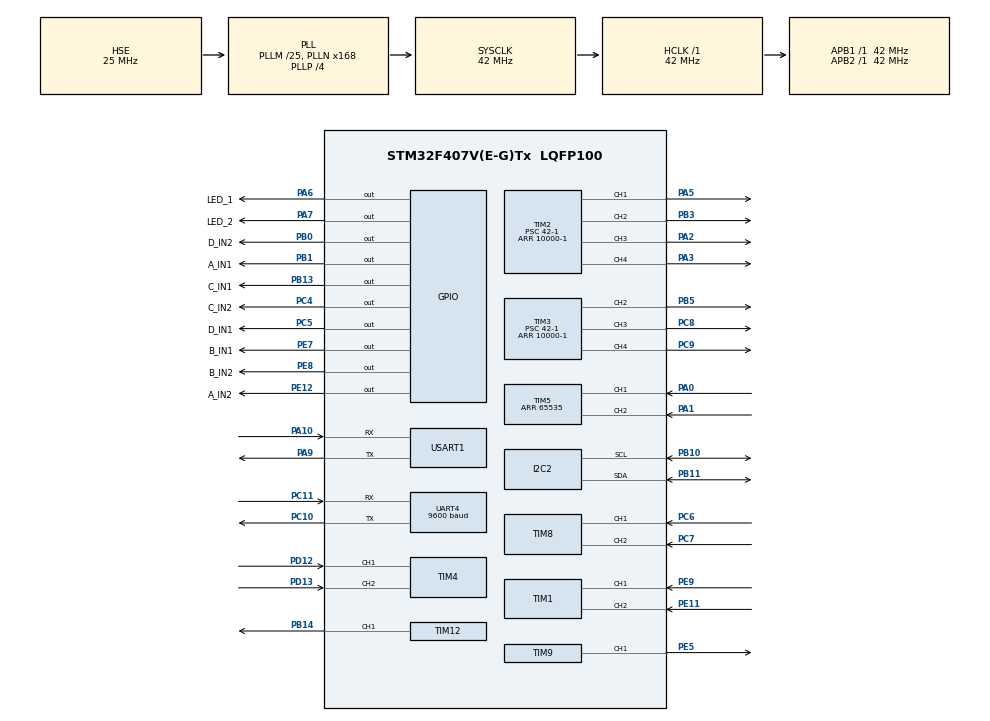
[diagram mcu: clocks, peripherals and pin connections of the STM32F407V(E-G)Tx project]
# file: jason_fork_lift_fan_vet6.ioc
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Mcu.Family=STM32F4
Mcu.Name=STM32F407V(E-G)Tx
Mcu.Package=LQFP100
NVIC.PriorityGroup=NVIC_PRIORITYGROUP_4
PA0-WKUP.Signal=S_TIM5_CH1
PA1.Signal=S_TIM5_CH2
PA10.Mode=Asynchronous
PA10.Signal=USART1_RX
PA13.Mode=Serial_Wire
PA13.Signal=SYS_JTMS-SWDIO
PA14.Mode=Serial_Wire
PA14.Signal=SYS_JTCK-SWCLK
PA2.Signal=S_TIM2_CH3
PA3.Signal=S_TIM2_CH4
PA5.Signal=S_TIM2_CH1_ETR
PA6.GPIO_Label=LED_1
PA6.Signal=GPIO_Output
PA7.GPIO_Label=LED_2
PA7.Signal=GPIO_Output
PA9.Mode=Asynchronous
PA9.Signal=USART1_TX
PB0.GPIO_Label=D_IN2
PB0.Signal=GPIO_Output
PB1.GPIO_Label=A_IN1
PB1.Signal=GPIO_Output
PB10.Mode=I2C
PB10.Signal=I2C2_SCL
PB11.Mode=I2C
PB11.Signal=I2C2_SDA
PB13.GPIO_Label=C_IN1
PB13.Signal=GPIO_Output
PB14.Signal=S_TIM12_CH1
PB3.Signal=S_TIM2_CH2
PB5.Signal=S_TIM3_CH2
PC10.Mode=Asynchronous
PC10.Signal=UART4_TX
PC11.Mode=Asynchronous
PC11.Signal=UART4_RX
PC14-OSC32_IN.Mode=LSE-External-Oscillator
PC14-OSC32_IN.Signal=RCC_OSC32_IN
PC15-OSC32_OUT.Mode=LSE-External-Oscillator
PC15-OSC32_OUT.Signal=RCC_OSC32_OUT
PC4.GPIO_Label=C_IN2
PC4.Signal=GPIO_Output
PC5.GPIO_Label=D_IN1
PC5.Signal=GPIO_Output
PC6.Signal=S_TIM8_CH1
PC7.Signal=S_TIM8_CH2
PC8.Signal=S_TIM3_CH3
PC9.Signal=S_TIM3_CH4
PD12.Signal=S_TIM4_CH1
PD13.Signal=S_TIM4_CH2
PE11.Signal=S_TIM1_CH2
PE12.GPIO_Label=A_IN2
PE12.Signal=GPIO_Output
PE5.Signal=S_TIM9_CH1
PE7.GPIO_Label=B_IN1
PE7.Signal=GPIO_Output
PE8.GPIO_Label=B_IN2
PE8.Signal=GPIO_Output
PE9.Signal=S_TIM1_CH1
PH0-OSC_IN.Mode=HSE-External-Oscillator
PH0-OSC_IN.Signal=RCC_OSC_IN
PH1-OSC_OUT.Mode=HSE-External-Oscillator
PH1-OSC_OUT.Signal=RCC_OSC_OUT
ProjectManager.HeapSize=0x200
ProjectManager.StackSize=0x400
ProjectManager.TargetToolchain=STM32CubeIDE
RCC.48MHZClocksFreq_Value=42000000
RCC.AHBFreq_Value=42000000
RCC.APB1Freq_Value=42000000
RCC.APB1TimFreq_Value=42000000
RCC.APB2Freq_Value=42000000
RCC.APB2TimFreq_Value=42000000
RCC.CortexFreq_Value=42000000
RCC.HCLKFreq_Value=42000000
RCC.HSE_VALUE=25000000
RCC.HSI_VALUE=16000000
RCC.PLLM=25
RCC.PLLN=168
RCC.PLLP=RCC_PLLP_DIV4
RCC.PLLSourceVirtual=RCC_PLLSOURCE_HSE
RCC.SYSCLKFreq_VALUE=42000000
RCC.SYSCLKSource=RCC_SYSCLKSOURCE_PLLCLK
RCC.VCOOutputFreq_Value=168000000
SH.S_TIM12_CH1.0=TIM12_CH1,PWM Generation1 CH1
SH.S_TIM1_CH1.0=TIM1_CH1,Encoder_Interface
SH.S_TIM1_CH2.0=TIM1_CH2,Encoder_Interface
SH.S_TIM2_CH1_ETR.0=TIM2_CH1,PWM Generation1 CH1
SH.S_TIM2_CH2.0=TIM2_CH2,PWM Generation2 CH2
SH.S_TIM2_CH3.0=TIM2_CH3,PWM Generation3 CH3
SH.S_TIM2_CH4.0=TIM2_CH4,PWM Generation4 CH4
SH.S_TIM3_CH2.0=TIM3_CH2,PWM Generation2 CH2
SH.S_TIM3_CH3.0=TIM3_CH3,PWM Generation3 CH3
SH.S_TIM3_CH4.0=TIM3_CH4,PWM Generation4 CH4
SH.S_TIM4_CH1.0=TIM4_CH1,Encoder_Interface
SH.S_TIM4_CH2.0=TIM4_CH2,Encoder_Interface
SH.S_TIM5_CH1.0=TIM5_CH1,Encoder_Interface
SH.S_TIM5_CH2.0=TIM5_CH2,Encoder_Interface
SH.S_TIM8_CH1.0=TIM8_CH1,Encoder_Interface
SH.S_TIM8_CH2.0=TIM8_CH2,Encoder_Interface
SH.S_TIM9_CH1.0=TIM9_CH1,PWM Generation1 CH1
TIM1.EncoderMode=TIM_ENCODERMODE_TI12
TIM1.IC1Filter=5
TIM1.IC2Filter=5
TIM12.AutoReloadPreload=TIM_AUTORELOAD_PRELOAD_ENABLE
TIM12.Channel-PWM\ Generation1\ CH1=TIM_CHANNEL_1
TIM12.Period=10000-1
TIM12.Prescaler=42-1
TIM2.AutoReloadPreload=TIM_AUTORELOAD_PRELOAD_ENABLE
TIM2.Channel-PWM\ Generation1\ CH1=TIM_CHANNEL_1
TIM2.Channel-PWM\ Generation2\ CH2=TIM_CHANNEL_2
TIM2.Channel-PWM\ Generation3\ CH3=TIM_CHANNEL_3
TIM2.Channel-PWM\ Generation4\ CH4=TIM_CHANNEL_4
TIM2.Period=10000-1
TIM2.Prescaler=42-1
TIM3.AutoReloadPreload=TIM_AUTORELOAD_PRELOAD_ENABLE
TIM3.Channel-PWM\ Generation2\ CH2=TIM_CHANNEL_2
TIM3.Channel-PWM\ Generation3\ CH3=TIM_CHANNEL_3
TIM3.Channel-PWM\ Generation4\ CH4=TIM_CHANNEL_4
TIM3.Period=10000-1
TIM3.Prescaler=42-1
TIM4.EncoderMode=TIM_ENCODERMODE_TI12
TIM4.IC1Filter=5
TIM4.IC2Filter=5
TIM5.AutoReloadPreload=TIM_AUTORELOAD_PRELOAD_DISABLE
TIM5.EncoderMode=TIM_ENCODERMODE_TI12
TIM5.IC1Filter=5
TIM5.IC2Filter=5
TIM5.Period=65535
TIM8.EncoderMode=TIM_ENCODERMODE_TI12
TIM9.AutoReloadPreload=TIM_AUTORELOAD_PRELOAD_ENABLE
TIM9.Channel-PWM\ Generation1\ CH1=TIM_CHANNEL_1
TIM9.Period=20000-1
TIM9.Prescaler=42-1
UART4.BaudRate=9600
UART4.VirtualMode=Asynchronous
USART1.VirtualMode=VM_ASYNC
VP_TIM12_VS_ClockSourceINT.Mode=Internal
VP_TIM2_VS_ClockSourceINT.Mode=Internal
VP_TIM3_VS_ClockSourceINT.Mode=Internal
VP_TIM9_VS_ClockSourceINT.Mode=Internal
board=custom

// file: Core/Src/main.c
/* USER CODE BEGIN Header */
/**
 ******************************************************************************
 * @file           : main.c
 * @brief          : Main program body
 ******************************************************************************
 * @attention
 *
 * Copyright (c) 2025 STMicroelectronics.
 * All rights reserved.
 *
 * This software is licensed under terms that can be found in the LICENSE file
 * in the root directory of this software component.
 * If no LICENSE file comes with this software, it is provided AS-IS.
 *
 ******************************************************************************
 */
/* USER CODE END Header */
#include "main.h"
#include "i2c.h"
#include "tim.h"
#include "usart.h"
#include "gpio.h"

/* USER CODE BEGIN Includes */
#include "auto_path.h"
#include "controller.h"
#include "mech.h"
#include "movement.h"
#include "robot.h"
#include "servo.h"
#include "test.h"

/* USER CODE END Includes */

/* USER CODE BEGIN PD */
#define TEST 1

/* USER CODE END PD */

/* USER CODE BEGIN PV */
int time_stamp = 0;
BaseVelocity test_base_vel = {0, 0, 0};
WheelPWM test_pwm = {0, 0, 0, 0};
WheelVelocity test_wheel_vel = {0, 0, 0, 0};
int test_var = 0;
uint8_t test_buffer[3] = {0, 0, 0};

/* USER CODE END PV */

void SystemClock_Config(void);

int main(void)
{

  /* MCU Configuration--------------------------------------------------------*/

  /* Reset of all peripherals, Initializes the Flash interface and the Systick. */
  HAL_Init();

  /* Configure the system clock */
  SystemClock_Config();

  /* Initialize all configured peripherals */
  MX_GPIO_Init();
  MX_TIM1_Init();
  MX_TIM2_Init();
  MX_TIM3_Init();
  MX_TIM4_Init();
  MX_TIM5_Init();
  MX_TIM8_Init();
  MX_UART4_Init();
  MX_USART1_UART_Init();
  MX_TIM9_Init();
  MX_TIM12_Init();
  MX_I2C2_Init();
  /* USER CODE BEGIN 2 */
  HAL_TIM_PWM_Start(&htim3, TIM_CHANNEL_1);
  HAL_TIM_PWM_Start(&htim3, TIM_CHANNEL_2);
  HAL_TIM_PWM_Start(&htim3, TIM_CHANNEL_3);
  HAL_TIM_PWM_Start(&htim3, TIM_CHANNEL_4);
  HAL_TIM_PWM_Start(&htim2, TIM_CHANNEL_1);
  HAL_TIM_PWM_Start(&htim2, TIM_CHANNEL_2);
  HAL_TIM_PWM_Start(&htim2, TIM_CHANNEL_3);
  HAL_TIM_PWM_Start(&htim2, TIM_CHANNEL_4);
  HAL_TIM_PWM_Start(&htim9, TIM_CHANNEL_1);
  HAL_TIM_PWM_Start(&htim12, TIM_CHANNEL_1);

  HAL_TIM_Base_Start_IT(&htim1);
  HAL_TIM_Encoder_Start_IT(&htim1, TIM_CHANNEL_ALL);
  HAL_TIM_Base_Start_IT(&htim4);
  HAL_TIM_Encoder_Start_IT(&htim4, TIM_CHANNEL_ALL);
  HAL_TIM_Base_Start_IT(&htim5);
  HAL_TIM_Encoder_Start_IT(&htim5, TIM_CHANNEL_ALL);
  HAL_TIM_Base_Start_IT(&htim8);
  HAL_TIM_Encoder_Start_IT(&htim8, TIM_CHANNEL_ALL);

  HAL_GPIO_WritePin(LED_1_GPIO_Port, LED_1_Pin, GPIO_PIN_RESET);
  HAL_GPIO_WritePin(LED_2_GPIO_Port, LED_2_Pin, GPIO_PIN_RESET);
  // HAL_GPIO_WritePin(LED_3_GPIO_Port, LED_3_Pin, GPIO_PIN_SET);
  // HAL_GPIO_WritePin(LED_4_GPIO_Port, LED_4_Pin, GPIO_PIN_SET);

  hmc5883l_init();
  HAL_Delay(10);

  hmc5883l_read(HMC5883L_REG_ADDR_IDA, &(test_buffer[0]));
  hmc5883l_read(HMC5883L_REG_ADDR_IDB, &(test_buffer[1]));
  hmc5883l_read(HMC5883L_REG_ADDR_IDC, &(test_buffer[2]));

  // BaseVelocity target_vel = {ROBOT_MAX_X_VELOCITY * 0.5,
  //                            0,
  //                            0};
  // rotate_motor(target_vel);

  // servo_move(&(servos[0]), SERVO_ID1_INITIAL_POS);
  // servo_move(&(servos[1]), SERVO_ID2_INITIAL_POS);
  // servo_move(&(servos[2]), SERVO_ID3_INITIAL_POS);
  // servo_move(&(servos[3]), SERVO_ID4_INITIAL_POS);

  // fan_operation(false);
  // HAL_Delay(1000);

  // servo_reset_all();
  // HAL_Delay(1000);

  /* USER CODE END 2 */

  /* Infinite loop */
  while (1) {

    /* USER CODE BEGIN 3 */
    HAL_Delay(1);
    read_current_velocity(encoders);
#if (TEST == 0)
    HAL_UART_Receive(&huart1, controller_buffer, sizeof(controller_buffer), 0xFFFF);
    parse_controller_data(controller_buffer, &controller_state);
    if (controller_state.options_button && !prev_turn_on) {  // turn on/off the robot
      turn_on = !turn_on;
      // HAL_GPIO_WritePin(LED_1_GPIO_Port, LED_1_Pin, turn_on ? GPIO_PIN_RESET : GPIO_PIN_SET);
      if (!turn_on) {
        HAL_GPIO_WritePin(LED_1_GPIO_Port, LED_1_Pin, GPIO_PIN_RESET);
        HAL_GPIO_WritePin(LED_2_GPIO_Port, LED_2_Pin, GPIO_PIN_RESET);
      } else {
        HAL_GPIO_WritePin(LED_1_GPIO_Port, LED_1_Pin, GPIO_PIN_SET);
        HAL_GPIO_WritePin(LED_2_GPIO_Port, LED_2_Pin, GPIO_PIN_SET);
      }
    }
    prev_turn_on = controller_state.options_button;

    if (turn_on) {
      if (auto_path_selection == LEFT_PATH) {
        HAL_GPIO_WritePin(LED_1_GPIO_Port, LED_1_Pin, GPIO_PIN_SET);
        HAL_GPIO_WritePin(LED_2_GPIO_Port, LED_2_Pin, GPIO_PIN_SET);
      } else if (auto_path_selection == MID_PATH) {
        HAL_GPIO_WritePin(LED_1_GPIO_Port, LED_1_Pin, GPIO_PIN_SET);
        HAL_GPIO_WritePin(LED_2_GPIO_Port, LED_2_Pin, GPIO_PIN_RESET);
      } else if (auto_path_selection == RIGHT_PATH) {
        HAL_GPIO_WritePin(LED_1_GPIO_Port, LED_1_Pin, GPIO_PIN_RESET);
        HAL_GPIO_WritePin(LED_2_GPIO_Port, LED_2_Pin, GPIO_PIN_SET);
      }

      float rotation_vel = (controller_state.l2_pressure / 1024.0 + controller_state.r2_pressure / -1024.0) * 100.0;

      if (controller_state.ps_button && !prev_auto_path_enable) {  // auto, line following
        auto_path_enable = !auto_path_enable;
        if (auto_path_enable)
          follow_auto_path(auto_path_selection);
      }
      prev_auto_path_enable = controller_state.ps_button;

      if (controller_state.square && !prev_auto_path_switch) {
        auto_path_switch = !auto_path_switch;
        if (auto_path_selection == LEFT_PATH)
          auto_path_selection = MID_PATH;
        else if (auto_path_selection == MID_PATH)
          auto_path_selection = RIGHT_PATH;
        else if (auto_path_selection == RIGHT_PATH)
          auto_path_selection = LEFT_PATH;
      }  // auto, choose path, toggle left / right / straight forward
      prev_auto_path_switch = controller_state.square;

      if (controller_state.r2 || controller_state.l2) {
        BaseVelocity target_vel = {0, 0, rotation_vel / 100.0 * ROBOT_MAX_Z_VELOCITY * 0.35};
        movement_control(target_vel);
      } else if (controller_state.r1) {
        BaseVelocity target_vel = {0, 0, ROBOT_MAX_Z_VELOCITY * -0.2};
        movement_control(target_vel);
      } else if (controller_state.l1) {
        BaseVelocity target_vel = {0, 0, ROBOT_MAX_Z_VELOCITY * 0.2};
        movement_control(target_vel);
      } else if (controller_state.up) {
        BaseVelocity target_vel = {0,
                                   ROBOT_MAX_Y_VELOCITY * 0.5,
                                   0};
        movement_control(target_vel);
      } else if (controller_state.down) {
        BaseVelocity target_vel = {0,
                                   ROBOT_MAX_Y_VELOCITY * -0.5,
                                   0};
        movement_control(target_vel);
      } else if (controller_state.left) {
        BaseVelocity target_vel = {ROBOT_MAX_X_VELOCITY * 0.5,
                                   0,
                                   0};
        movement_control(target_vel);
      } else if (controller_state.right) {
        BaseVelocity target_vel = {ROBOT_MAX_X_VELOCITY * -0.5,
                                   0,
                                   0};
        movement_control(target_vel);
      } else {
        WheelPWM target_pwm = {0, 0, 0, 0};
        wheels_control(target_pwm);
      }

      if (controller_state.triangle && !prev_turn_on_fan) {
        turn_on_fan = !turn_on_fan;
        fan_operation(turn_on_fan);
      }
      prev_turn_on_fan = controller_state.triangle;
    }
#else
    HAL_UART_Receive(&huart1, controller_buffer, sizeof(controller_buffer), 0xFFFF);
    parse_controller_data(controller_buffer, &controller_state);
    if (controller_state.options_button && !prev_turn_on) {  // turn on/off the robot
      turn_on = !turn_on;
      // HAL_GPIO_WritePin(LED_1_GPIO_Port, LED_1_Pin, turn_on ? GPIO_PIN_RESET : GPIO_PIN_SET);
      if (!turn_on) {
        HAL_GPIO_WritePin(LED_1_GPIO_Port, LED_1_Pin, GPIO_PIN_RESET);
        HAL_GPIO_WritePin(LED_2_GPIO_Port, LED_2_Pin, GPIO_PIN_RESET);
      } else {
        HAL_GPIO_WritePin(LED_1_GPIO_Port, LED_1_Pin, GPIO_PIN_SET);
        HAL_GPIO_WritePin(LED_2_GPIO_Port, LED_2_Pin, GPIO_PIN_SET);
      }
    }
    prev_turn_on = controller_state.options_button;

    // if (HAL_GetTick() - time_stamp > 5000) {
    //   time_stamp = HAL_GetTick();
    //   // HAL_GPIO_TogglePin(C_IN1_GPIO_Port, C_IN1_Pin);
    //   // HAL_GPIO_TogglePin(C_IN2_GPIO_Port, C_IN2_Pin);
    //   // HAL_GPIO_TogglePin(D_IN1_GPIO_Port, D_IN1_Pin);
    //   // HAL_GPIO_TogglePin(D_IN2_GPIO_Port, D_IN2_Pin);
    //   // HAL_GPIO_TogglePin(A_IN1_GPIO_Port, A_IN1_Pin);
    //   // HAL_GPIO_TogglePin(A_IN2_GPIO_Port, A_IN2_Pin);
    //   // HAL_GPIO_TogglePin(B_IN1_GPIO_Port, B_IN1_Pin);
    //   // HAL_GPIO_TogglePin(B_IN2_GPIO_Port, B_IN2_Pin);
    //   uint8_t send_buffer[10];
    //   send_buffer[0] = send_buffer[1] = 0x55;
    //   send_buffer[2] = 0x08;
    //   send_buffer[3] = 0x03;
    //   send_buffer[4] = 0x01;
    //   send_buffer[5] = 0xE8;
    //   send_buffer[6] = 0x03;
    //   send_buffer[7] = 0x01;
    //   send_buffer[8] = 0x20;
    //   send_buffer[9] = 0x03;
    //   HAL_UART_Transmit(&huart4, send_buffer, sizeof(send_buffer), 0xFFFF);
    // }
    // if (HAL_GetTick() - time_stamp > 500) {
    //   time_stamp = HAL_GetTick();
    //   test_var += 50;
    // }

    // TIM3->CCR2 = test_var; // PB5
    // TIM3->CCR3 = test_var; // PC8
    // TIM3->CCR4 = test_var; // PC9
    // TIM9->CCR1 = test_var; // PE5
#endif
  }
  /* USER CODE END 3 */
}

void SystemClock_Config(void)
{
  RCC_OscInitTypeDef RCC_OscInitStruct = {0};
  RCC_ClkInitTypeDef RCC_ClkInitStruct = {0};

  /** Configure the main internal regulator output voltage
  */
  __HAL_RCC_PWR_CLK_ENABLE();
  __HAL_PWR_VOLTAGESCALING_CONFIG(PWR_REGULATOR_VOLTAGE_SCALE1);

  /** Initializes the RCC Oscillators according to the specified parameters
  * in the RCC_OscInitTypeDef structure.
  */
  RCC_OscInitStruct.OscillatorType = RCC_OSCILLATORTYPE_HSE;
  RCC_OscInitStruct.HSEState = RCC_HSE_ON;
  RCC_OscInitStruct.PLL.PLLState = RCC_PLL_ON;
  RCC_OscInitStruct.PLL.PLLSource = RCC_PLLSOURCE_HSE;
  RCC_OscInitStruct.PLL.PLLM = 25;
  RCC_OscInitStruct.PLL.PLLN = 168;
  RCC_OscInitStruct.PLL.PLLP = RCC_PLLP_DIV4;
  RCC_OscInitStruct.PLL.PLLQ = 4;
  if (HAL_RCC_OscConfig(&RCC_OscInitStruct) != HAL_OK)
  {
    Error_Handler();
  }

  /** Initializes the CPU, AHB and APB buses clocks
  */
  RCC_ClkInitStruct.ClockType = RCC_CLOCKTYPE_HCLK|RCC_CLOCKTYPE_SYSCLK
                              |RCC_CLOCKTYPE_PCLK1|RCC_CLOCKTYPE_PCLK2;
  RCC_ClkInitStruct.SYSCLKSource = RCC_SYSCLKSOURCE_PLLCLK;
  RCC_ClkInitStruct.AHBCLKDivider = RCC_SYSCLK_DIV1;
  RCC_ClkInitStruct.APB1CLKDivider = RCC_HCLK_DIV1;
  RCC_ClkInitStruct.APB2CLKDivider = RCC_HCLK_DIV1;

  if (HAL_RCC_ClockConfig(&RCC_ClkInitStruct, FLASH_LATENCY_1) != HAL_OK)
  {
    Error_Handler();
  }
}

void Error_Handler(void)
{
  __disable_irq();
  while (1) {
  }
}
